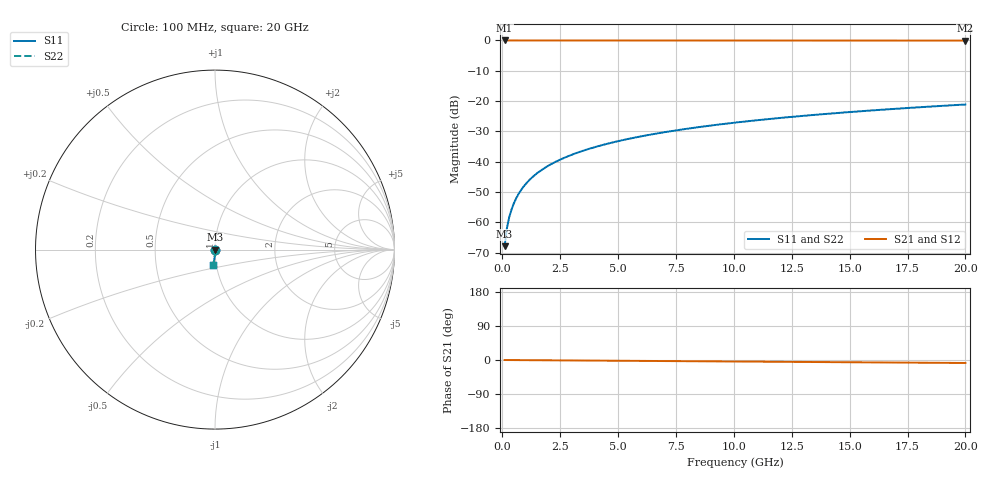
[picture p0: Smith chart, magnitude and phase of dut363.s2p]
! Touchstone file exported from HFSS 2026.1.0
!  File:  C:/ffzhzh/LocalFiles/Ansys_Project_Files/temp_train_TSV_363_1783019355_46388.aedt
!  Generated:  03:10:38 AM Jul  3, 2026
!  Design:  TSV
!  Project:  temp_train_TSV_363_1783019355_46388
! Variables:
!  h_bsmrdl = 2um
!  h_ox = 20um
!  h_rdl = 5um
!  h_sub = 63.56um
!  h_tmrdl = 5um
!  h_tsv = 63.56um
!  h_via = 3um
!  l_bsmrdl = 300um
!  l_sub = 430um
!  l_tmrdl = 200um
!  m_sub = 200um
!  pitch = 36.07um
!  r_tsv = 15um
!  s_tmrdl = 10um
!  w_bsmrdl = 18um
!  w_sub = 500um
!  w_tmrdl = 12um
!  x_tsv_center1 = 206um
!  x_tsv_center2 = 524um
!  x_tsv_center3 = 736um
!  x_tsv_center4 = 1054um
!  x_tsv_center5 = 1266um
!  x_tsv_center6 = 1584um
# GHz S MA R 50.000000
! Terminal data exported
! Port[1] = TSV1_1_T1
! Port[2] = TSV1_1_T2
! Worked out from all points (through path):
!   200 points, 100 MHz to 20 GHz, reference 50 ohm
!   highest |S21| = 0.00 dB at 100 MHz (marker M1); lowest = 0.0 dB at 20 GHz (marker M2)
!   group delay of S21, straight-line fit = 1.09 ps
!   lowest |S11| = -67.9 dB at 100 MHz (marker M3), VSWR 1.00, Z = 50 - j0.0397 ohm
!   |S11| at or under -10 dB: start of sweep to end of sweep
!   |S22| runs from -67.9 to -21.1 dB; largest |S21 - S12| = 1.4e-15
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0.1  0.0004029 -79.9  0.9999 -0.0  0.9999 -0.0  0.0004029 -79.9
! Gamma 0 0 0 0
! Port Impedance 50 0 50 0
0.2  0.0008026 -83.9  0.9999 -0.1  0.9999 -0.1  0.0008026 -83.9
0.3  0.001212 -84.9  0.9999 -0.1  0.9999 -0.1  0.001212 -84.9
0.4  0.00163 -85.4  0.9999 -0.2  0.9999 -0.2  0.00163 -85.4
0.5  0.002055 -85.7  0.9998 -0.2  0.9998 -0.2  0.002055 -85.7
0.7  0.002919 -86.3  0.9998 -0.3  0.9998 -0.3  0.002919 -86.3
0.8  0.003355 -86.5  0.9998 -0.3  0.9998 -0.3  0.003355 -86.5
1  0.004231 -87.0  0.9997 -0.4  0.9997 -0.4  0.004231 -87.0
1.2  0.005108 -87.4  0.9997 -0.5  0.9997 -0.5  0.005108 -87.4
1.4  0.005986 -87.8  0.9997 -0.6  0.9997 -0.6  0.005986 -87.8
1.7  0.007302 -88.2  0.9997 -0.7  0.9997 -0.7  0.007302 -88.2
2  0.008617 -88.6  0.9996 -0.8  0.9996 -0.8  0.008617 -88.6
2.7  0.01168 -89.2  0.9995 -1.1  0.9995 -1.1  0.01168 -89.2
3.5  0.01519 -89.8  0.9995 -1.4  0.9995 -1.4  0.01519 -89.8
4.2  0.01827 -90.2  0.9994 -1.7  0.9994 -1.7  0.01827 -90.2
5  0.02179 -90.6  0.9992 -2.0  0.9992 -2.0  0.02179 -90.6
6.8  0.02972 -91.5  0.9989 -2.7  0.9989 -2.7  0.02972 -91.5
8.3  0.03634 -92.2  0.9987 -3.3  0.9987 -3.3  0.03634 -92.2
10.1  0.04428 -93.0  0.9983 -4.0  0.9983 -4.0  0.04428 -93.0
13.4  0.05881 -94.5  0.9974 -5.3  0.9974 -5.3  0.05881 -94.5
16.7  0.0733 -95.8  0.9963 -6.6  0.9963 -6.6  0.0733 -95.8
20  0.08774 -97.2  0.9951 -7.9  0.9951 -7.9  0.08774 -97.2
